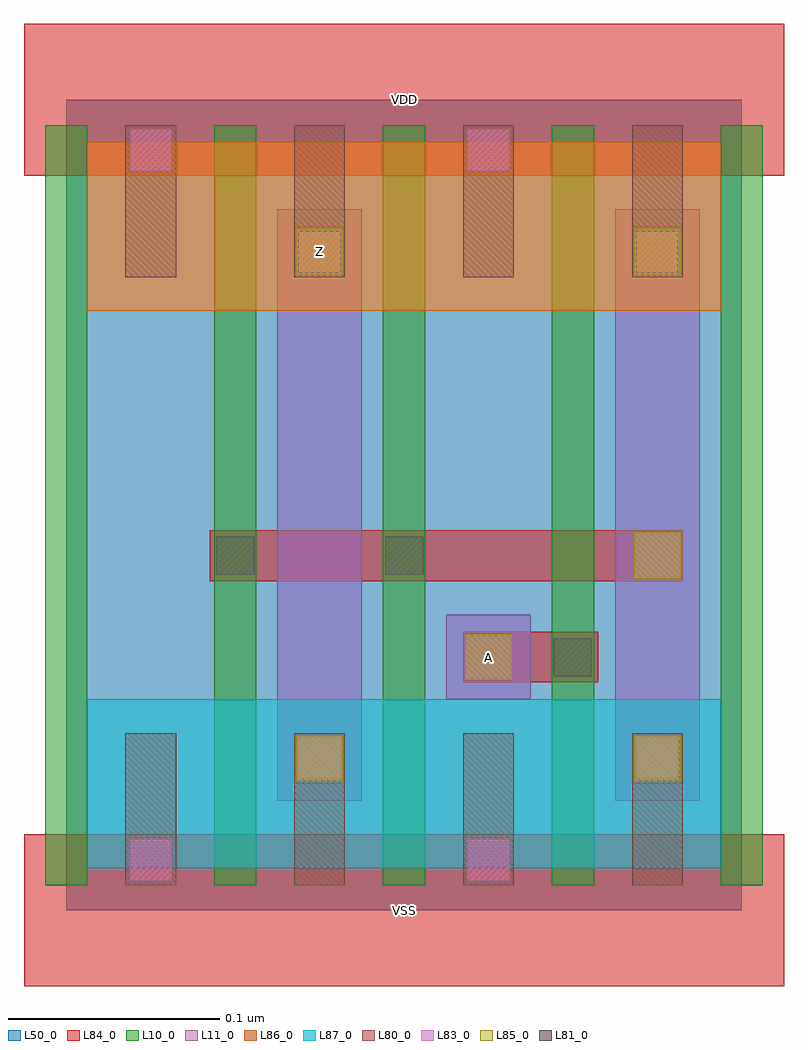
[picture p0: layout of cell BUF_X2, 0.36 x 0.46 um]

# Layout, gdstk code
import gdstk
lib = gdstk.Library(unit=1e-6, precision=1e-09)
def R(c, l, rs):  # rectangles x0, y0, x1, y1
    for r in rs: c.add(gdstk.rectangle(r[:2], r[2:], *l))
def A(c, l, x, y, w, h, nx, ny, dx, dy):  # array of equal rectangles
    R(c, l, [(x+i*dx, y+j*dy, x+i*dx+w, y+j*dy+h) for i in range(nx) for j in range(ny)])
L10_0 = (10, 0)
L11_0 = (11, 0)
L50_0 = (50, 0)
L80_0 = (80, 0)
L81_0 = (81, 0)
L83_0 = (83, 0)
L84_0 = (84, 0)
L85_0 = (85, 0)
L86_0 = (86, 0)
L87_0 = (87, 0)

buf_x2 = lib.new_cell('BUF_X2')
A(buf_x2, L10_0, -0.01, 0.012, 0.02, 0.36, 5, 1, 0.08, 0)
R(buf_x2, L11_0, [(0.1,0.052,0.14,0.332), (0.26,0.052,0.3,0.332), (0.18,0.1,0.22,0.14)])
R(buf_x2, L50_0, [(0,0,0.32,0.384)])
A(buf_x2, L80_0, 0.028, 0.012, 0.024, 0.072, 4, 2, 0.08, 0.288)
R(buf_x2, L81_0, [(0.231,0.111,0.249,0.129), (0.071,0.159,0.089,0.177), (0.151,0.159,0.169,0.177)])
R(buf_x2, L83_0, [(0.03,0.014,0.05,0.034), (0.19,0.014,0.21,0.034), (0.11,0.062,0.13,0.082), (0.27,0.062,0.29,0.082), (0.11,0.302,0.13,0.322), (0.27,0.302,0.29,0.322), (0.03,0.35,0.05,0.37), (0.19,0.35,0.21,0.37)])
R(buf_x2, L84_0, [(-0.02,-0.036,0.34,0.036), (0.108,0.06,0.132,0.084), (0.268,0.06,0.292,0.084), (0.188,0.108,0.252,0.132), (0.068,0.156,0.292,0.18), (0.108,0.3,0.132,0.324), (0.268,0.3,0.292,0.324), (-0.02,0.348,0.34,0.42)])
R(buf_x2, L85_0, [(0.109,0.061,0.131,0.083), (0.269,0.061,0.291,0.083), (0.189,0.109,0.211,0.131), (0.269,0.157,0.291,0.179), (0.109,0.301,0.131,0.323), (0.269,0.301,0.291,0.323)])
R(buf_x2, L86_0, [(0.01,0.284,0.31,0.364)])
R(buf_x2, L87_0, [(0.01,0.02,0.31,0.1)])
buf_x2.add(gdstk.Label('VDD', (0.16,0.384), layer=88, texttype=0))
buf_x2.add(gdstk.Label('VSS', (0.16,0), layer=88, texttype=0))
buf_x2.add(gdstk.Label('Z', (0.12,0.312), layer=31, texttype=0))
buf_x2.add(gdstk.Label('A', (0.2,0.12), layer=31, texttype=0))

lib.write_gds('BUF_X2.gds')
